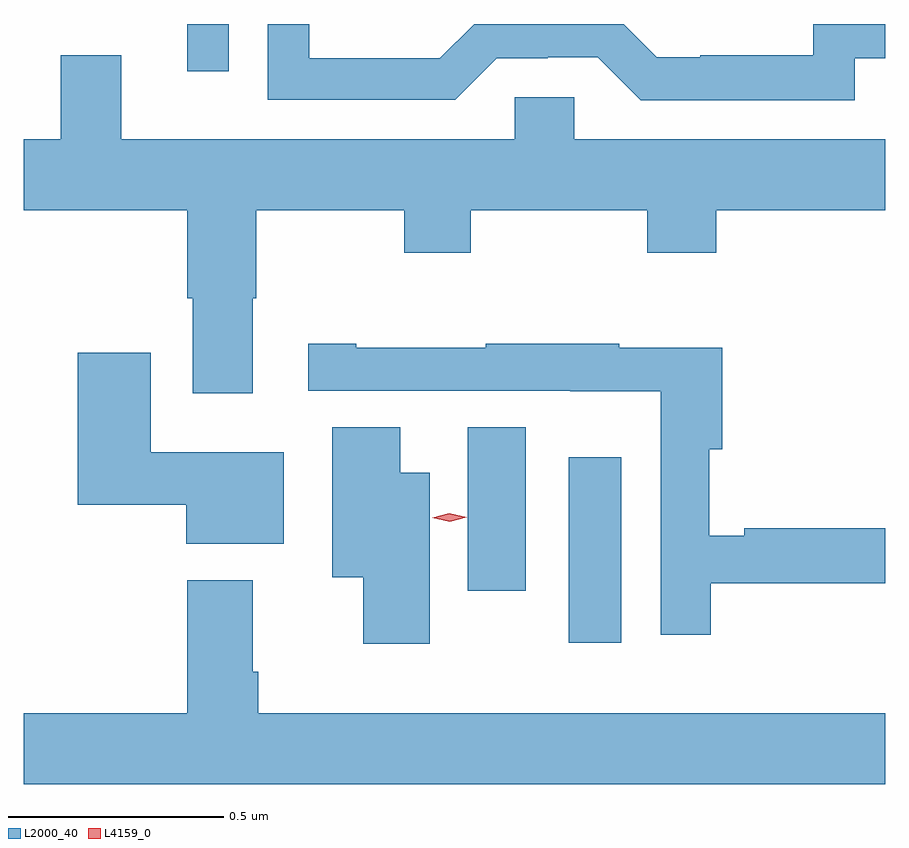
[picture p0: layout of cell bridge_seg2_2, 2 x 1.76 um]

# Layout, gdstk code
import gdstk
lib = gdstk.Library(unit=1e-6, precision=1e-09)
def R(c, l, rs):  # rectangles x0, y0, x1, y1
    for r in rs: c.add(gdstk.rectangle(r[:2], r[2:], *l))
def P(c, l, *ps):  # polygons
    for p in ps: c.add(gdstk.Polygon(p, *l))
L2000_40 = (2000, 40)
L4159_0 = (4159, 0)

bridge_seg2_2 = lib.new_cell('bridge_seg2_2')
R(bridge_seg2_2, L2000_40, [(868.214,638.64,868.336,639.07), (867.98,638.76,868.114,639.14), (867.329,639.966,867.425,640.076)])
P(bridge_seg2_2, L2000_40, [(868.878,639.996),(868.949,639.996),(868.949,640.076),(868.782,640.076),(868.782,640.003),(868.519,640.003),(868.519,639.999),(868.419,639.999),(868.342,640.076),(867.995,640.076),(867.915,639.996),(867.612,639.996),(867.612,640.076),(867.516,640.076),(867.516,639.9),(867.951,639.9),(868.047,639.996),(868.166,639.996),(868.166,639.999),(868.281,639.999),(868.381,639.899),(868.878,639.899)],
  [(867.481,639.44),(867.489,639.44),(867.489,639.644),(867.832,639.644),(867.832,639.545),(867.987,639.545),(867.987,639.644),(868.396,639.644),(868.396,639.545),(868.556,639.545),(868.556,639.644),(868.949,639.644),(868.949,639.808),(868.227,639.808),(868.227,639.906),(868.089,639.906),(868.089,639.808),(867.175,639.808),(867.175,640.003),(867.035,640.003),(867.035,639.808),(866.949,639.808),(866.949,639.644),(867.329,639.644),(867.329,639.44),(867.341,639.44),(867.341,639.219),(867.481,639.219)],
  [(868.544,638.778),(868.949,638.778),(868.949,638.906),(868.621,638.906),(868.621,638.888),(868.54,638.888),(868.54,639.089),(868.571,639.089),(868.571,639.324),(868.331,639.324),(868.331,639.334),(868.021,639.334),(868.021,639.324),(867.721,639.324),(867.721,639.334),(867.609,639.334),(867.609,639.225),(868.218,639.225),(868.218,639.224),(868.428,639.224),(868.428,638.658),(868.544,638.658)],
  [(867.553,639.082),(867.244,639.082),(867.244,639.313),(867.074,639.313),(867.074,638.96),(867.326,638.96),(867.326,638.87),(867.553,638.87)],
  [(867.892,639.034),(867.823,639.034),(867.823,639.14),(867.665,639.14),(867.665,638.792),(867.737,638.792),(867.737,638.637),(867.892,638.637)],
  [(868.949,638.476),(867.494,638.476),(867.494,638.572),(867.481,638.572),(867.481,638.785),(867.329,638.785),(867.329,638.476),(866.949,638.476),(866.949,638.312),(868.949,638.312)])
P(bridge_seg2_2, L4159_0, [(867.938,638.921),(867.897,638.93),(867.897,638.93),(867.897,638.93),(867.937,638.94),(867.978,638.931),(867.978,638.931),(867.978,638.931)])

lib.write_gds('bridge_seg2_2.gds')
